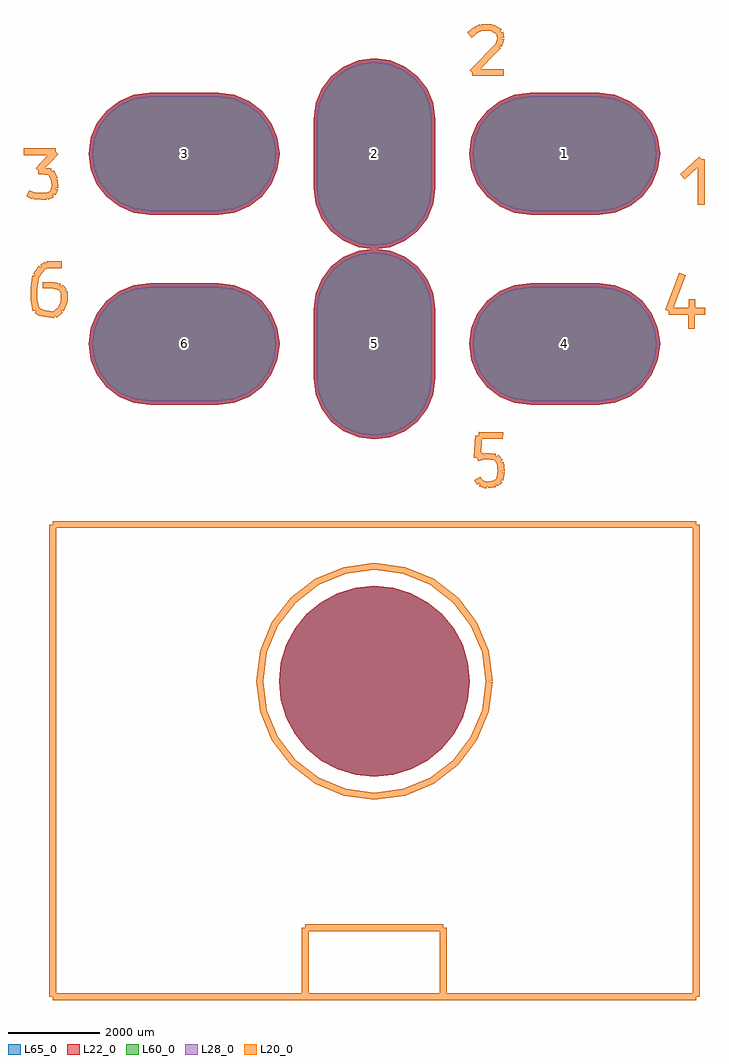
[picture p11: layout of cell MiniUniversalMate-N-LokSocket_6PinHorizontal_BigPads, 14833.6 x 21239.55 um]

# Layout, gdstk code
import gdstk
lib = gdstk.Library(unit=1e-6, precision=1e-09)
def P(c, l, *ps):  # polygons
    for p in ps: c.add(gdstk.Polygon(p, *l))
L20_0 = (20, 0)
L22_0 = (22, 0)
L28_0 = (28, 0)
L60_0 = (60, 0)
L65_0 = (65, 0)

miniuniversalmate_n_loks = lib.new_cell('MiniUniversalMate-N-LokSocket_6PinHorizontal_BigPads')
P(miniuniversalmate_n_loks, L22_0, [(2075.25,-9410.7),(2035.375,-9005.839),(1917.281,-8616.536),(1725.507,-8257.753),(1467.423,-7943.277),(1152.947,-7685.193),(794.164,-7493.419),(404.861,-7375.325),(0,-7335.45),(-404.861,-7375.325),(-794.164,-7493.419),(-1152.947,-7685.193),(-1467.423,-7943.277),(-1725.507,-8257.753),(-1917.281,-8616.536),(-2035.375,-9005.839),(-2075.25,-9410.7),(-2035.375,-9815.561),(-1917.281,-10204.864),(-1725.507,-10563.647),(-1467.423,-10878.123),(-1152.947,-11136.207),(-794.164,-11327.981),(-404.861,-11446.075),(0,-11485.95),(404.861,-11446.075),(794.164,-11327.981),(1152.947,-11136.207),(1467.423,-10878.123),(1725.507,-10563.647),(1917.281,-10204.864),(2035.375,-9815.561)],
  [(-4890.77,-3394.78),(-3389.63,-3394.78),(-3046.778,-3349.643),(-2727.29,-3217.307),(-2452.94,-3006.79),(-2242.423,-2732.44),(-2110.087,-2412.952),(-2064.95,-2070.1),(-2110.087,-1727.248),(-2242.423,-1407.76),(-2452.94,-1133.41),(-2727.29,-922.893),(-3046.778,-790.557),(-3389.63,-745.42),(-4890.77,-745.42),(-5233.622,-790.557),(-5553.11,-922.893),(-5827.46,-1133.41),(-6037.977,-1407.76),(-6170.313,-1727.248),(-6215.45,-2070.1),(-6170.313,-2412.952),(-6037.977,-2732.44),(-5827.46,-3006.79),(-5553.11,-3217.307),(-5233.622,-3349.643)],
  [(0,-4145.35),(342.852,-4100.213),(662.34,-3967.877),(936.69,-3757.36),(1147.207,-3483.01),(1279.543,-3163.522),(1324.68,-2820.67),(1324.68,-1319.53),(1279.543,-976.678),(1147.207,-657.19),(936.69,-382.84),(662.34,-172.323),(342.852,-39.987),(0,5.15),(-342.852,-39.987),(-662.34,-172.323),(-936.69,-382.84),(-1147.207,-657.19),(-1279.543,-976.678),(-1324.68,-1319.53),(-1324.68,-2820.67),(-1279.543,-3163.522),(-1147.207,-3483.01),(-936.69,-3757.36),(-662.34,-3967.877),(-342.852,-4100.213)],
  [(3389.63,-3394.78),(4890.77,-3394.78),(5233.622,-3349.643),(5553.11,-3217.307),(5827.46,-3006.79),(6037.977,-2732.44),(6170.313,-2412.952),(6215.45,-2070.1),(6170.313,-1727.248),(6037.977,-1407.76),(5827.46,-1133.41),(5553.11,-922.893),(5233.622,-790.557),(4890.77,-745.42),(3389.63,-745.42),(3046.778,-790.557),(2727.29,-922.893),(2452.94,-1133.41),(2242.423,-1407.76),(2110.087,-1727.248),(2064.95,-2070.1),(2110.087,-2412.952),(2242.423,-2732.44),(2452.94,-3006.79),(2727.29,-3217.307),(3046.778,-3349.643)],
  [(-4890.77,745.42),(-3389.63,745.42),(-3046.778,790.557),(-2727.29,922.893),(-2452.94,1133.41),(-2242.423,1407.76),(-2110.087,1727.248),(-2064.95,2070.1),(-2110.087,2412.952),(-2242.423,2732.44),(-2452.94,3006.79),(-2727.29,3217.307),(-3046.778,3349.643),(-3389.63,3394.78),(-4890.77,3394.78),(-5233.622,3349.643),(-5553.11,3217.307),(-5827.46,3006.79),(-6037.977,2732.44),(-6170.313,2412.952),(-6215.45,2070.1),(-6170.313,1727.248),(-6037.977,1407.76),(-5827.46,1133.41),(-5553.11,922.893),(-5233.622,790.557)],
  [(0,-5.15),(342.852,39.987),(662.34,172.323),(936.69,382.84),(1147.207,657.19),(1279.543,976.678),(1324.68,1319.53),(1324.68,2820.67),(1279.543,3163.522),(1147.207,3483.01),(936.69,3757.36),(662.34,3967.877),(342.852,4100.213),(0,4145.35),(-342.852,4100.213),(-662.34,3967.877),(-936.69,3757.36),(-1147.207,3483.01),(-1279.543,3163.522),(-1324.68,2820.67),(-1324.68,1319.53),(-1279.543,976.678),(-1147.207,657.19),(-936.69,382.84),(-662.34,172.323),(-342.852,39.987)],
  [(3389.63,745.42),(4890.77,745.42),(5233.622,790.557),(5553.11,922.893),(5827.46,1133.41),(6037.977,1407.76),(6170.313,1727.248),(6215.45,2070.1),(6170.313,2412.952),(6037.977,2732.44),(5827.46,3006.79),(5553.11,3217.307),(5233.622,3349.643),(4890.77,3394.78),(3389.63,3394.78),(3046.778,3349.643),(2727.29,3217.307),(2452.94,3006.79),(2242.423,2732.44),(2110.087,2412.952),(2064.95,2070.1),(2110.087,1727.248),(2242.423,1407.76),(2452.94,1133.41),(2727.29,922.893),(3046.778,790.557)])
P(miniuniversalmate_n_loks, L28_0, [(-4890.77,-3319.78),(-3389.63,-3319.78),(-3066.189,-3277.198),(-2764.79,-3152.355),(-2505.973,-2953.757),(-2307.375,-2694.94),(-2182.532,-2393.541),(-2139.95,-2070.1),(-2182.532,-1746.659),(-2307.375,-1445.26),(-2505.973,-1186.443),(-2764.79,-987.845),(-3066.189,-863.002),(-3389.63,-820.42),(-4890.77,-820.42),(-5214.211,-863.002),(-5515.61,-987.845),(-5774.427,-1186.443),(-5973.025,-1445.26),(-6097.868,-1746.659),(-6140.45,-2070.1),(-6097.868,-2393.541),(-5973.025,-2694.94),(-5774.427,-2953.757),(-5515.61,-3152.355),(-5214.211,-3277.198)],
  [(0,-4070.35),(323.441,-4027.768),(624.84,-3902.925),(883.657,-3704.327),(1082.255,-3445.51),(1207.098,-3144.111),(1249.68,-2820.67),(1249.68,-1319.53),(1207.098,-996.089),(1082.255,-694.69),(883.657,-435.873),(624.84,-237.275),(323.441,-112.432),(0,-69.85),(-323.441,-112.432),(-624.84,-237.275),(-883.657,-435.873),(-1082.255,-694.69),(-1207.098,-996.089),(-1249.68,-1319.53),(-1249.68,-2820.67),(-1207.098,-3144.111),(-1082.255,-3445.51),(-883.657,-3704.327),(-624.84,-3902.925),(-323.441,-4027.768)],
  [(3389.63,-3319.78),(4890.77,-3319.78),(5214.211,-3277.198),(5515.61,-3152.355),(5774.427,-2953.757),(5973.025,-2694.94),(6097.868,-2393.541),(6140.45,-2070.1),(6097.868,-1746.659),(5973.025,-1445.26),(5774.427,-1186.443),(5515.61,-987.845),(5214.211,-863.002),(4890.77,-820.42),(3389.63,-820.42),(3066.189,-863.002),(2764.79,-987.845),(2505.973,-1186.443),(2307.375,-1445.26),(2182.532,-1746.659),(2139.95,-2070.1),(2182.532,-2393.541),(2307.375,-2694.94),(2505.973,-2953.757),(2764.79,-3152.355),(3066.189,-3277.198)],
  [(-4890.77,820.42),(-3389.63,820.42),(-3066.189,863.002),(-2764.79,987.845),(-2505.973,1186.443),(-2307.375,1445.26),(-2182.532,1746.659),(-2139.95,2070.1),(-2182.532,2393.541),(-2307.375,2694.94),(-2505.973,2953.757),(-2764.79,3152.355),(-3066.189,3277.198),(-3389.63,3319.78),(-4890.77,3319.78),(-5214.211,3277.198),(-5515.61,3152.355),(-5774.427,2953.757),(-5973.025,2694.94),(-6097.868,2393.541),(-6140.45,2070.1),(-6097.868,1746.659),(-5973.025,1445.26),(-5774.427,1186.443),(-5515.61,987.845),(-5214.211,863.002)],
  [(0,69.85),(323.441,112.432),(624.84,237.275),(883.657,435.873),(1082.255,694.69),(1207.098,996.089),(1249.68,1319.53),(1249.68,2820.67),(1207.098,3144.111),(1082.255,3445.51),(883.657,3704.327),(624.84,3902.925),(323.441,4027.768),(0,4070.35),(-323.441,4027.768),(-624.84,3902.925),(-883.657,3704.327),(-1082.255,3445.51),(-1207.098,3144.111),(-1249.68,2820.67),(-1249.68,1319.53),(-1207.098,996.089),(-1082.255,694.69),(-883.657,435.873),(-624.84,237.275),(-323.441,112.432)],
  [(3389.63,820.42),(4890.77,820.42),(5214.211,863.002),(5515.61,987.845),(5774.427,1186.443),(5973.025,1445.26),(6097.868,1746.659),(6140.45,2070.1),(6097.868,2393.541),(5973.025,2694.94),(5774.427,2953.757),(5515.61,3152.355),(5214.211,3277.198),(4890.77,3319.78),(3389.63,3319.78),(3066.189,3277.198),(2764.79,3152.355),(2505.973,2953.757),(2307.375,2694.94),(2182.532,2393.541),(2139.95,2070.1),(2182.532,1746.659),(2307.375,1445.26),(2505.973,1186.443),(2764.79,987.845),(3066.189,863.002)])
P(miniuniversalmate_n_loks, L60_0, [(-4890.77,-3319.78),(-3389.63,-3319.78),(-3066.189,-3277.198),(-2764.79,-3152.355),(-2505.973,-2953.757),(-2307.375,-2694.94),(-2182.532,-2393.541),(-2139.95,-2070.1),(-2182.532,-1746.659),(-2307.375,-1445.26),(-2505.973,-1186.443),(-2764.79,-987.845),(-3066.189,-863.002),(-3389.63,-820.42),(-4890.77,-820.42),(-5214.211,-863.002),(-5515.61,-987.845),(-5774.427,-1186.443),(-5973.025,-1445.26),(-6097.868,-1746.659),(-6140.45,-2070.1),(-6097.868,-2393.541),(-5973.025,-2694.94),(-5774.427,-2953.757),(-5515.61,-3152.355),(-5214.211,-3277.198)],
  [(0,-4070.35),(323.441,-4027.768),(624.84,-3902.925),(883.657,-3704.327),(1082.255,-3445.51),(1207.098,-3144.111),(1249.68,-2820.67),(1249.68,-1319.53),(1207.098,-996.089),(1082.255,-694.69),(883.657,-435.873),(624.84,-237.275),(323.441,-112.432),(0,-69.85),(-323.441,-112.432),(-624.84,-237.275),(-883.657,-435.873),(-1082.255,-694.69),(-1207.098,-996.089),(-1249.68,-1319.53),(-1249.68,-2820.67),(-1207.098,-3144.111),(-1082.255,-3445.51),(-883.657,-3704.327),(-624.84,-3902.925),(-323.441,-4027.768)],
  [(3389.63,-3319.78),(4890.77,-3319.78),(5214.211,-3277.198),(5515.61,-3152.355),(5774.427,-2953.757),(5973.025,-2694.94),(6097.868,-2393.541),(6140.45,-2070.1),(6097.868,-1746.659),(5973.025,-1445.26),(5774.427,-1186.443),(5515.61,-987.845),(5214.211,-863.002),(4890.77,-820.42),(3389.63,-820.42),(3066.189,-863.002),(2764.79,-987.845),(2505.973,-1186.443),(2307.375,-1445.26),(2182.532,-1746.659),(2139.95,-2070.1),(2182.532,-2393.541),(2307.375,-2694.94),(2505.973,-2953.757),(2764.79,-3152.355),(3066.189,-3277.198)],
  [(-4890.77,820.42),(-3389.63,820.42),(-3066.189,863.002),(-2764.79,987.845),(-2505.973,1186.443),(-2307.375,1445.26),(-2182.532,1746.659),(-2139.95,2070.1),(-2182.532,2393.541),(-2307.375,2694.94),(-2505.973,2953.757),(-2764.79,3152.355),(-3066.189,3277.198),(-3389.63,3319.78),(-4890.77,3319.78),(-5214.211,3277.198),(-5515.61,3152.355),(-5774.427,2953.757),(-5973.025,2694.94),(-6097.868,2393.541),(-6140.45,2070.1),(-6097.868,1746.659),(-5973.025,1445.26),(-5774.427,1186.443),(-5515.61,987.845),(-5214.211,863.002)],
  [(0,69.85),(323.441,112.432),(624.84,237.275),(883.657,435.873),(1082.255,694.69),(1207.098,996.089),(1249.68,1319.53),(1249.68,2820.67),(1207.098,3144.111),(1082.255,3445.51),(883.657,3704.327),(624.84,3902.925),(323.441,4027.768),(0,4070.35),(-323.441,4027.768),(-624.84,3902.925),(-883.657,3704.327),(-1082.255,3445.51),(-1207.098,3144.111),(-1249.68,2820.67),(-1249.68,1319.53),(-1207.098,996.089),(-1082.255,694.69),(-883.657,435.873),(-624.84,237.275),(-323.441,112.432)],
  [(3389.63,820.42),(4890.77,820.42),(5214.211,863.002),(5515.61,987.845),(5774.427,1186.443),(5973.025,1445.26),(6097.868,1746.659),(6140.45,2070.1),(6097.868,2393.541),(5973.025,2694.94),(5774.427,2953.757),(5515.61,3152.355),(5214.211,3277.198),(4890.77,3319.78),(3389.63,3319.78),(3066.189,3277.198),(2764.79,3152.355),(2505.973,2953.757),(2307.375,2694.94),(2182.532,2393.541),(2139.95,2070.1),(2182.532,1746.659),(2307.375,1445.26),(2505.973,1186.443),(2764.79,987.845),(3066.189,863.002)])
P(miniuniversalmate_n_loks, L65_0, [(2075.25,-9410.7),(2035.375,-9005.839),(1917.281,-8616.536),(1725.507,-8257.753),(1467.423,-7943.277),(1152.947,-7685.193),(794.164,-7493.419),(404.861,-7375.325),(0,-7335.45),(-404.861,-7375.325),(-794.164,-7493.419),(-1152.947,-7685.193),(-1467.423,-7943.277),(-1725.507,-8257.753),(-1917.281,-8616.536),(-2035.375,-9005.839),(-2075.25,-9410.7),(-2035.375,-9815.561),(-1917.281,-10204.864),(-1725.507,-10563.647),(-1467.423,-10878.123),(-1152.947,-11136.207),(-794.164,-11327.981),(-404.861,-11446.075),(0,-11485.95),(404.861,-11446.075),(794.164,-11327.981),(1152.947,-11136.207),(1467.423,-10878.123),(1725.507,-10563.647),(1917.281,-10204.864),(2035.375,-9815.561)],
  [(-4890.77,-3394.78),(-3389.63,-3394.78),(-3046.778,-3349.643),(-2727.29,-3217.307),(-2452.94,-3006.79),(-2242.423,-2732.44),(-2110.087,-2412.952),(-2064.95,-2070.1),(-2110.087,-1727.248),(-2242.423,-1407.76),(-2452.94,-1133.41),(-2727.29,-922.893),(-3046.778,-790.557),(-3389.63,-745.42),(-4890.77,-745.42),(-5233.622,-790.557),(-5553.11,-922.893),(-5827.46,-1133.41),(-6037.977,-1407.76),(-6170.313,-1727.248),(-6215.45,-2070.1),(-6170.313,-2412.952),(-6037.977,-2732.44),(-5827.46,-3006.79),(-5553.11,-3217.307),(-5233.622,-3349.643)],
  [(0,-4145.35),(342.852,-4100.213),(662.34,-3967.877),(936.69,-3757.36),(1147.207,-3483.01),(1279.543,-3163.522),(1324.68,-2820.67),(1324.68,-1319.53),(1279.543,-976.678),(1147.207,-657.19),(936.69,-382.84),(662.34,-172.323),(342.852,-39.987),(0,5.15),(-342.852,-39.987),(-662.34,-172.323),(-936.69,-382.84),(-1147.207,-657.19),(-1279.543,-976.678),(-1324.68,-1319.53),(-1324.68,-2820.67),(-1279.543,-3163.522),(-1147.207,-3483.01),(-936.69,-3757.36),(-662.34,-3967.877),(-342.852,-4100.213)],
  [(3389.63,-3394.78),(4890.77,-3394.78),(5233.622,-3349.643),(5553.11,-3217.307),(5827.46,-3006.79),(6037.977,-2732.44),(6170.313,-2412.952),(6215.45,-2070.1),(6170.313,-1727.248),(6037.977,-1407.76),(5827.46,-1133.41),(5553.11,-922.893),(5233.622,-790.557),(4890.77,-745.42),(3389.63,-745.42),(3046.778,-790.557),(2727.29,-922.893),(2452.94,-1133.41),(2242.423,-1407.76),(2110.087,-1727.248),(2064.95,-2070.1),(2110.087,-2412.952),(2242.423,-2732.44),(2452.94,-3006.79),(2727.29,-3217.307),(3046.778,-3349.643)],
  [(-4890.77,745.42),(-3389.63,745.42),(-3046.778,790.557),(-2727.29,922.893),(-2452.94,1133.41),(-2242.423,1407.76),(-2110.087,1727.248),(-2064.95,2070.1),(-2110.087,2412.952),(-2242.423,2732.44),(-2452.94,3006.79),(-2727.29,3217.307),(-3046.778,3349.643),(-3389.63,3394.78),(-4890.77,3394.78),(-5233.622,3349.643),(-5553.11,3217.307),(-5827.46,3006.79),(-6037.977,2732.44),(-6170.313,2412.952),(-6215.45,2070.1),(-6170.313,1727.248),(-6037.977,1407.76),(-5827.46,1133.41),(-5553.11,922.893),(-5233.622,790.557)],
  [(0,-5.15),(342.852,39.987),(662.34,172.323),(936.69,382.84),(1147.207,657.19),(1279.543,976.678),(1324.68,1319.53),(1324.68,2820.67),(1279.543,3163.522),(1147.207,3483.01),(936.69,3757.36),(662.34,3967.877),(342.852,4100.213),(0,4145.35),(-342.852,4100.213),(-662.34,3967.877),(-936.69,3757.36),(-1147.207,3483.01),(-1279.543,3163.522),(-1324.68,2820.67),(-1324.68,1319.53),(-1279.543,976.678),(-1147.207,657.19),(-936.69,382.84),(-662.34,172.323),(-342.852,39.987)],
  [(3389.63,745.42),(4890.77,745.42),(5233.622,790.557),(5553.11,922.893),(5827.46,1133.41),(6037.977,1407.76),(6170.313,1727.248),(6215.45,2070.1),(6170.313,2412.952),(6037.977,2732.44),(5827.46,3006.79),(5553.11,3217.307),(5233.622,3349.643),(4890.77,3394.78),(3389.63,3394.78),(3046.778,3349.643),(2727.29,3217.307),(2452.94,3006.79),(2242.423,2732.44),(2110.087,2412.952),(2064.95,2070.1),(2110.087,1727.248),(2242.423,1407.76),(2452.94,1133.41),(2727.29,922.893),(3046.778,790.557)])
miniuniversalmate_n_loks.add(gdstk.FlexPath([(7114.54,1950.72),(7114.54,960.12)], 149.998, ends="flush", simple_path=True, layer=20, datatype=0))  # L20_0
miniuniversalmate_n_loks.add(gdstk.FlexPath([(6703.06,1569.72),(7114.54,1950.72)], 149.998, ends="flush", simple_path=True, layer=20, datatype=0))  # L20_0
miniuniversalmate_n_loks.add(gdstk.FlexPath([(2131.06,3837.94),(2811.78,3837.94)], 149.998, ends="flush", simple_path=True, layer=20, datatype=0))  # L20_0
miniuniversalmate_n_loks.add(gdstk.FlexPath([(2700.02,4417.06),(2131.06,3837.94)], 149.998, ends="flush", simple_path=True, layer=20, datatype=0))  # L20_0
miniuniversalmate_n_loks.add(gdstk.FlexPath([(2750.82,4587.24),(2700.02,4417.06)], 149.998, ends="flush", simple_path=True, layer=20, datatype=0))  # L20_0
miniuniversalmate_n_loks.add(gdstk.FlexPath([(2730.5,4716.78),(2750.82,4587.24)], 149.998, ends="flush", simple_path=True, layer=20, datatype=0))  # L20_0
miniuniversalmate_n_loks.add(gdstk.FlexPath([(2560.32,4808.22),(2730.5,4716.78)], 149.998, ends="flush", simple_path=True, layer=20, datatype=0))  # L20_0
miniuniversalmate_n_loks.add(gdstk.FlexPath([(2321.56,4818.38),(2560.32,4808.22)], 149.998, ends="flush", simple_path=True, layer=20, datatype=0))  # L20_0
miniuniversalmate_n_loks.add(gdstk.FlexPath([(2209.8,4767.58),(2321.56,4818.38)], 149.998, ends="flush", simple_path=True, layer=20, datatype=0))  # L20_0
miniuniversalmate_n_loks.add(gdstk.FlexPath([(2070.1,4658.36),(2209.8,4767.58)], 149.998, ends="flush", simple_path=True, layer=20, datatype=0))  # L20_0
miniuniversalmate_n_loks.add(gdstk.FlexPath([(-7411.72,1153.16),(-7541.26,1211.58)], 149.998, ends="flush", simple_path=True, layer=20, datatype=0))  # L20_0
miniuniversalmate_n_loks.add(gdstk.FlexPath([(-7241.54,1143),(-7411.72,1153.16)], 149.998, ends="flush", simple_path=True, layer=20, datatype=0))  # L20_0
miniuniversalmate_n_loks.add(gdstk.FlexPath([(-7132.32,1143),(-7241.54,1143)], 149.998, ends="flush", simple_path=True, layer=20, datatype=0))  # L20_0
miniuniversalmate_n_loks.add(gdstk.FlexPath([(-7012.94,1193.8),(-7132.32,1143)], 149.998, ends="flush", simple_path=True, layer=20, datatype=0))  # L20_0
miniuniversalmate_n_loks.add(gdstk.FlexPath([(-6951.98,1323.34),(-7012.94,1193.8)], 149.998, ends="flush", simple_path=True, layer=20, datatype=0))  # L20_0
miniuniversalmate_n_loks.add(gdstk.FlexPath([(-6962.14,1513.84),(-6951.98,1323.34)], 149.998, ends="flush", simple_path=True, layer=20, datatype=0))  # L20_0
miniuniversalmate_n_loks.add(gdstk.FlexPath([(-7043.42,1681.48),(-6962.14,1513.84)], 149.998, ends="flush", simple_path=True, layer=20, datatype=0))  # L20_0
miniuniversalmate_n_loks.add(gdstk.FlexPath([(-7312.66,1701.8),(-7043.42,1681.48)], 149.998, ends="flush", simple_path=True, layer=20, datatype=0))  # L20_0
miniuniversalmate_n_loks.add(gdstk.FlexPath([(-6931.66,2113.28),(-7312.66,1701.8)], 149.998, ends="flush", simple_path=True, layer=20, datatype=0))  # L20_0
miniuniversalmate_n_loks.add(gdstk.FlexPath([(-7632.7,2113.28),(-6931.66,2113.28)], 149.998, ends="flush", simple_path=True, layer=20, datatype=0))  # L20_0
miniuniversalmate_n_loks.add(gdstk.FlexPath([(-6969.76,-797.56),(-7218.68,-787.4)], 149.998, ends="flush", simple_path=True, layer=20, datatype=0))  # L20_0
miniuniversalmate_n_loks.add(gdstk.FlexPath([(-6837.68,-828.04),(-6969.76,-797.56)], 149.998, ends="flush", simple_path=True, layer=20, datatype=0))  # L20_0
miniuniversalmate_n_loks.add(gdstk.FlexPath([(-6748.78,-927.1),(-6837.68,-828.04)], 149.998, ends="flush", simple_path=True, layer=20, datatype=0))  # L20_0
miniuniversalmate_n_loks.add(gdstk.FlexPath([(-6748.78,-1148.08),(-6748.78,-927.1)], 149.998, ends="flush", simple_path=True, layer=20, datatype=0))  # L20_0
miniuniversalmate_n_loks.add(gdstk.FlexPath([(-6827.52,-1328.42),(-6748.78,-1148.08)], 149.998, ends="flush", simple_path=True, layer=20, datatype=0))  # L20_0
miniuniversalmate_n_loks.add(gdstk.FlexPath([(-6959.6,-1437.64),(-6827.52,-1328.42)], 149.998, ends="flush", simple_path=True, layer=20, datatype=0))  # L20_0
miniuniversalmate_n_loks.add(gdstk.FlexPath([(-7239,-1397),(-6959.6,-1437.64)], 149.998, ends="flush", simple_path=True, layer=20, datatype=0))  # L20_0
miniuniversalmate_n_loks.add(gdstk.FlexPath([(-7358.38,-1338.58),(-7239,-1397)], 149.998, ends="flush", simple_path=True, layer=20, datatype=0))  # L20_0
miniuniversalmate_n_loks.add(gdstk.FlexPath([(-7409.18,-1117.6),(-7358.38,-1338.58)], 149.998, ends="flush", simple_path=True, layer=20, datatype=0))  # L20_0
miniuniversalmate_n_loks.add(gdstk.FlexPath([(-7409.18,-858.52),(-7409.18,-1117.6)], 149.998, ends="flush", simple_path=True, layer=20, datatype=0))  # L20_0
miniuniversalmate_n_loks.add(gdstk.FlexPath([(-7368.54,-586.74),(-7409.18,-858.52)], 149.998, ends="flush", simple_path=True, layer=20, datatype=0))  # L20_0
miniuniversalmate_n_loks.add(gdstk.FlexPath([(-7239,-408.94),(-7368.54,-586.74)], 149.998, ends="flush", simple_path=True, layer=20, datatype=0))  # L20_0
miniuniversalmate_n_loks.add(gdstk.FlexPath([(-7129.78,-347.98),(-7239,-408.94)], 149.998, ends="flush", simple_path=True, layer=20, datatype=0))  # L20_0
miniuniversalmate_n_loks.add(gdstk.FlexPath([(-6898.64,-347.98),(-7129.78,-347.98)], 149.998, ends="flush", simple_path=True, layer=20, datatype=0))  # L20_0
miniuniversalmate_n_loks.add(gdstk.FlexPath([(-6799.58,-347.98),(-6898.64,-347.98)], 149.998, ends="flush", simple_path=True, layer=20, datatype=0))  # L20_0
miniuniversalmate_n_loks.add(gdstk.FlexPath([(2298.7,-5100.32),(2240.28,-4998.72)], 149.998, ends="flush", simple_path=True, layer=20, datatype=0))  # L20_0
miniuniversalmate_n_loks.add(gdstk.FlexPath([(2400.3,-5130.8),(2298.7,-5100.32)], 149.998, ends="flush", simple_path=True, layer=20, datatype=0))  # L20_0
miniuniversalmate_n_loks.add(gdstk.FlexPath([(2458.72,-5140.96),(2400.3,-5130.8)], 149.998, ends="flush", simple_path=True, layer=20, datatype=0))  # L20_0
miniuniversalmate_n_loks.add(gdstk.FlexPath([(2628.9,-5110.48),(2458.72,-5140.96)], 149.998, ends="flush", simple_path=True, layer=20, datatype=0))  # L20_0
miniuniversalmate_n_loks.add(gdstk.FlexPath([(2730.5,-5029.2),(2628.9,-5110.48)], 149.998, ends="flush", simple_path=True, layer=20, datatype=0))  # L20_0
miniuniversalmate_n_loks.add(gdstk.FlexPath([(2760.98,-4848.86),(2730.5,-5029.2)], 149.998, ends="flush", simple_path=True, layer=20, datatype=0))  # L20_0
miniuniversalmate_n_loks.add(gdstk.FlexPath([(2740.66,-4640.58),(2760.98,-4848.86)], 149.998, ends="flush", simple_path=True, layer=20, datatype=0))  # L20_0
miniuniversalmate_n_loks.add(gdstk.FlexPath([(2639.06,-4528.82),(2740.66,-4640.58)], 149.998, ends="flush", simple_path=True, layer=20, datatype=0))  # L20_0
miniuniversalmate_n_loks.add(gdstk.FlexPath([(2390.14,-4508.5),(2639.06,-4528.82)], 149.998, ends="flush", simple_path=True, layer=20, datatype=0))  # L20_0
miniuniversalmate_n_loks.add(gdstk.FlexPath([(2240.28,-4549.14),(2390.14,-4508.5)], 149.998, ends="flush", simple_path=True, layer=20, datatype=0))  # L20_0
miniuniversalmate_n_loks.add(gdstk.FlexPath([(2270.76,-4058.92),(2240.28,-4549.14)], 149.998, ends="flush", simple_path=True, layer=20, datatype=0))  # L20_0
miniuniversalmate_n_loks.add(gdstk.FlexPath([(2799.08,-4069.08),(2270.76,-4058.92)], 149.998, ends="flush", simple_path=True, layer=20, datatype=0))  # L20_0
miniuniversalmate_n_loks.add(gdstk.FlexPath([(6400.8,-1353.82),(7200.9,-1353.82)], 149.998, ends="flush", simple_path=True, layer=20, datatype=0))  # L20_0
miniuniversalmate_n_loks.add(gdstk.FlexPath([(6700.52,-546.1),(6400.8,-1353.82)], 149.998, ends="flush", simple_path=True, layer=20, datatype=0))  # L20_0
miniuniversalmate_n_loks.add(gdstk.FlexPath([(6901.18,-1734.82),(6911.34,-1094.74)], 149.998, ends="flush", simple_path=True, layer=20, datatype=0))  # L20_0
miniuniversalmate_n_loks.add(gdstk.FlexPath([(0,-16271.24),(7000.24,-16271.24)], 149.998, ends="flush", simple_path=True, layer=20, datatype=0))  # L20_0
miniuniversalmate_n_loks.add(gdstk.FlexPath([(0,-16271.24),(-7000.24,-16271.24)], 149.998, ends="flush", simple_path=True, layer=20, datatype=0))  # L20_0
miniuniversalmate_n_loks.add(gdstk.FlexPath([(7000.24,-5999.48),(7000.24,-16271.24)], 149.998, ends="flush", simple_path=True, layer=20, datatype=0))  # L20_0
miniuniversalmate_n_loks.add(gdstk.FlexPath([(-7000.24,-5999.48),(7000.24,-5999.48)], 149.998, ends="flush", simple_path=True, layer=20, datatype=0))  # L20_0
miniuniversalmate_n_loks.add(gdstk.FlexPath([(-7000.24,-16271.24),(-7000.24,-5999.48)], 149.998, ends="flush", simple_path=True, layer=20, datatype=0))  # L20_0
miniuniversalmate_n_loks.add(gdstk.FlexPath([(-1501.14,-14770.1),(-1501.14,-16271.24)], 149.998, ends="flush", simple_path=True, layer=20, datatype=0))  # L20_0
miniuniversalmate_n_loks.add(gdstk.FlexPath([(1501.14,-14770.1),(-1501.14,-14770.1)], 149.998, ends="flush", simple_path=True, layer=20, datatype=0))  # L20_0
miniuniversalmate_n_loks.add(gdstk.FlexPath([(1501.14,-16271.24),(1501.14,-14770.1)], 149.998, ends="flush", simple_path=True, layer=20, datatype=0))  # L20_0
miniuniversalmate_n_loks.add(gdstk.FlexPath([(2499.36,-9410.7),(2414.196,-8763.818),(2164.509,-8161.02),(1767.314,-7643.386),(1249.68,-7246.191),(646.882,-6996.504),(0,-6911.34),(-646.882,-6996.504),(-1249.68,-7246.191),(-1767.314,-7643.386),(-2164.509,-8161.02),(-2414.196,-8763.818),(-2499.36,-9410.7),(-2414.196,-10057.582),(-2164.509,-10660.38),(-1767.314,-11178.014),(-1249.68,-11575.209),(-646.882,-11824.896),(0,-11910.06),(646.882,-11824.896),(1249.68,-11575.209),(1767.314,-11178.014),(2164.509,-10660.38),(2414.196,-10057.582),(2499.36,-9410.7)], 149.998, ends="flush", simple_path=True, layer=20, datatype=0))  # L20_0
miniuniversalmate_n_loks.add(gdstk.Label('6', (-4140.2,-2070.1), layer=28, texttype=0))
miniuniversalmate_n_loks.add(gdstk.Label('5', (0,-2070.1), layer=28, texttype=0))
miniuniversalmate_n_loks.add(gdstk.Label('4', (4140.2,-2070.1), layer=28, texttype=0))
miniuniversalmate_n_loks.add(gdstk.Label('3', (-4140.2,2070.1), layer=28, texttype=0))
miniuniversalmate_n_loks.add(gdstk.Label('2', (0,2070.1), layer=28, texttype=0))
miniuniversalmate_n_loks.add(gdstk.Label('1', (4140.2,2070.1), layer=28, texttype=0))
miniuniversalmate_n_loks.add(gdstk.Label('type', (-408.94,-19540.22), layer=9, texttype=0))
miniuniversalmate_n_loks.add(gdstk.Label('devicename', (-690.88,7299.96), layer=9, texttype=0))

lib.write_gds('MiniUniversalMate-N-LokSocket_6PinHorizontal_BigPads.gds')
